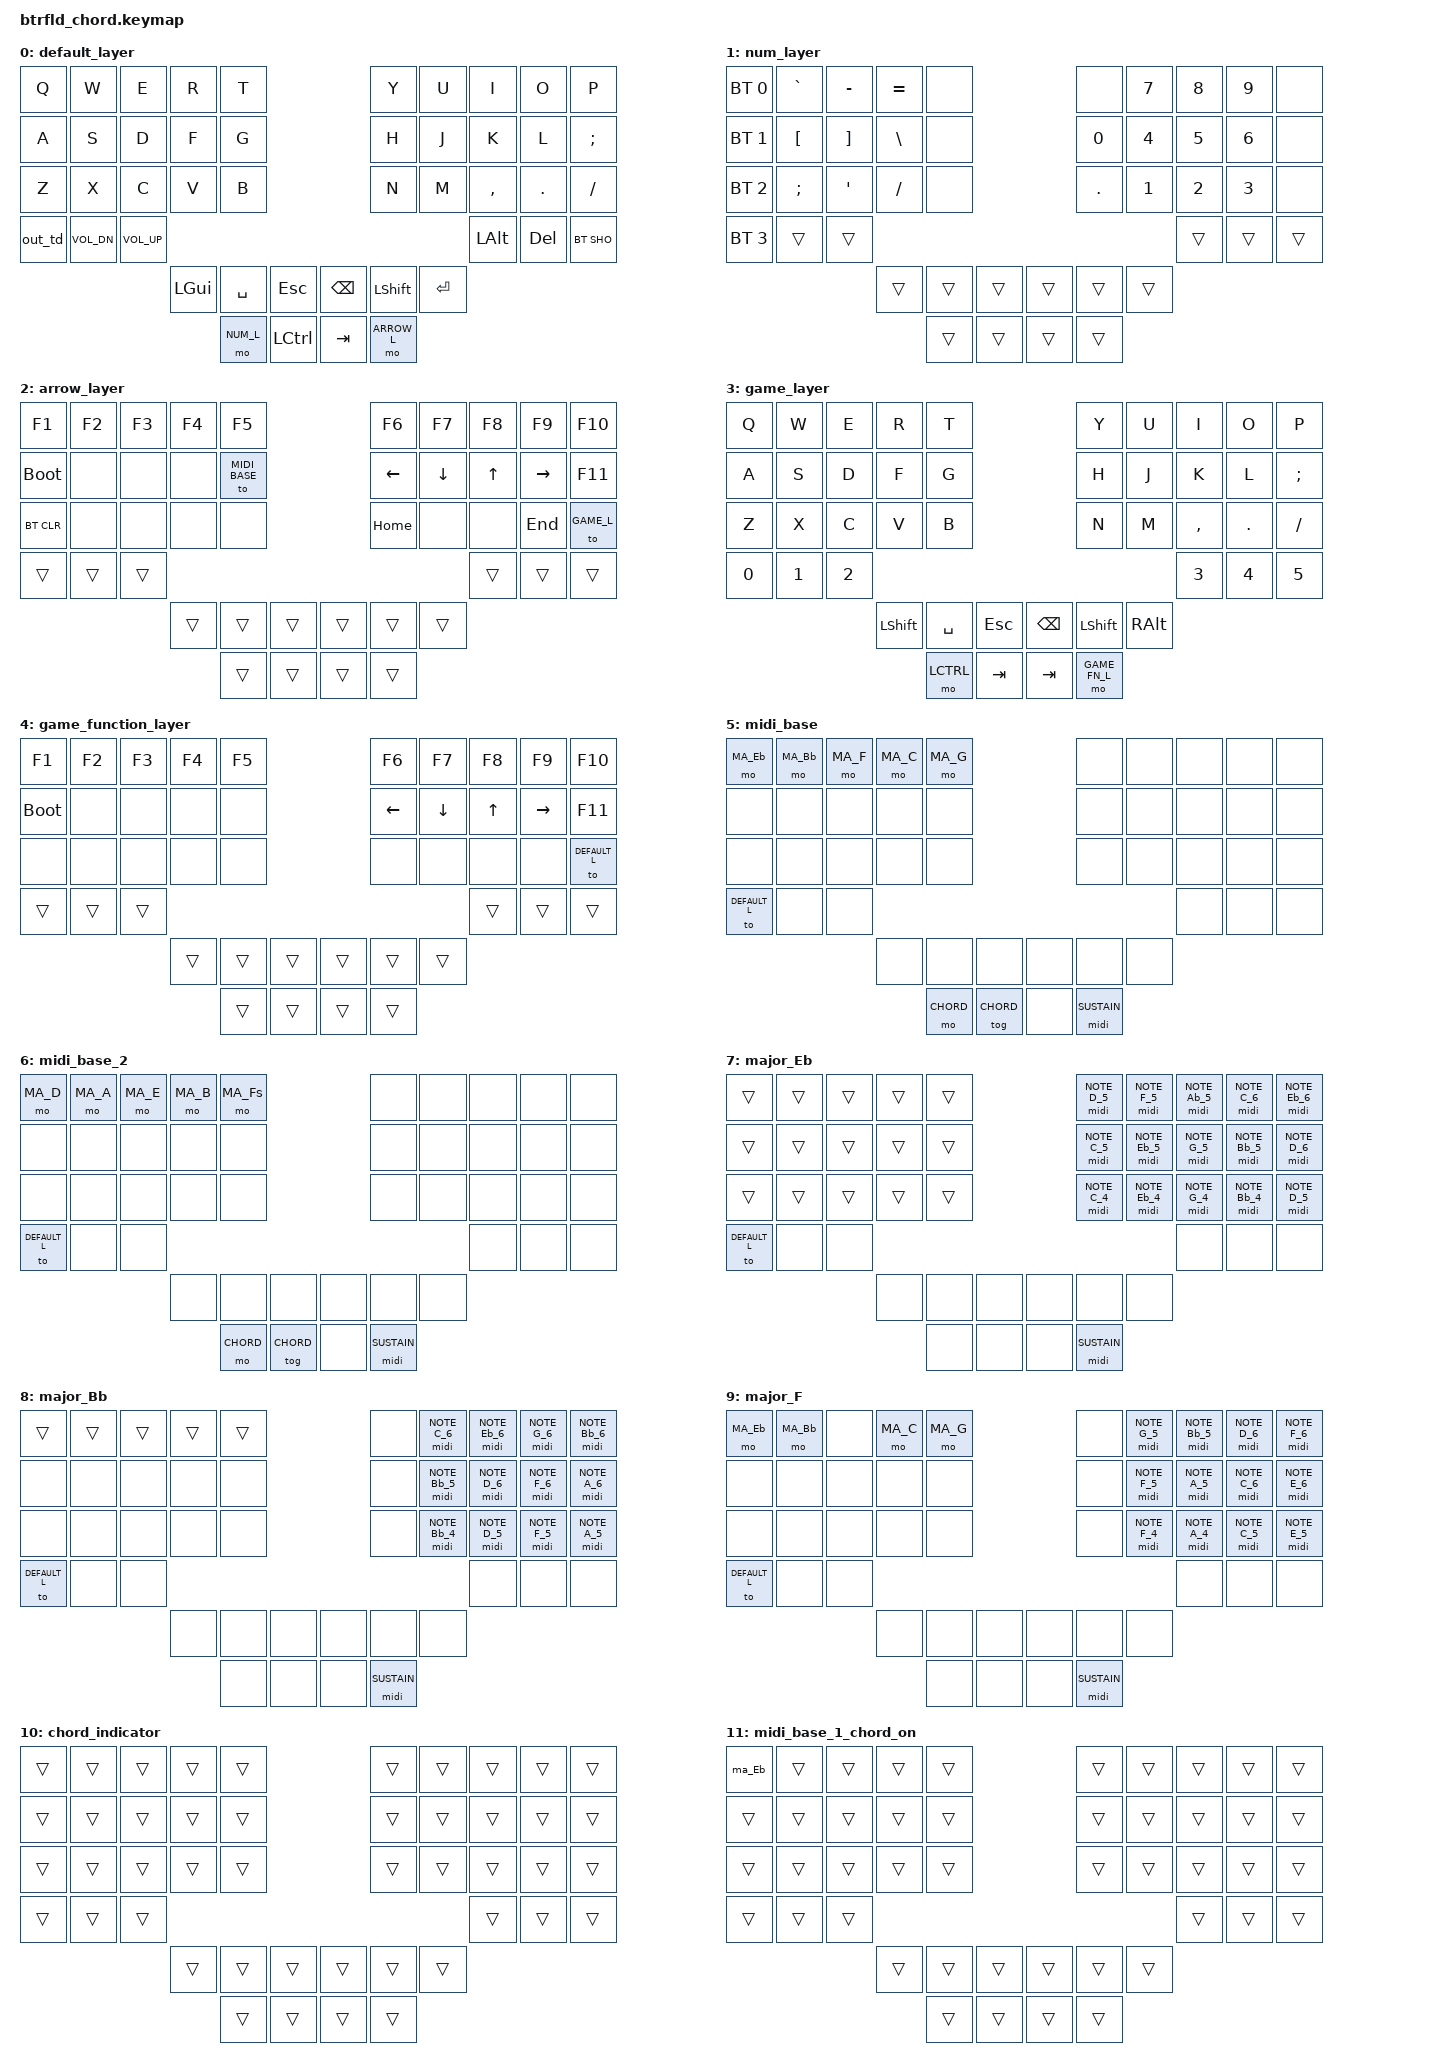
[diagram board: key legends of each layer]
#include <behaviors.dtsi>
#include <dt-bindings/zmk/keys.h>
#include <dt-bindings/zmk/midi.h>
#include <dt-bindings/zmk/bt.h>
#include <dt-bindings/zmk/outputs.h>



// go to bootloader: &bootloader
// presents key from higher layer: &trans
// no function: &none

#define DEFAULT_L  0
#define NUM_L      1
#define ARROW_L    2
#define GAME_L     3
#define GAME_FN_L  4

#define MIDI_BASE   5
#define MIDI_BASE_2 6

// Major chords
#define MA_Eb  7
#define MA_Bb  8
#define MA_F  9
#define MA_C  10
#define MA_G  11
#define MA_D  12
#define MA_A  13
#define MA_E  14
#define MA_B  15
#define MA_Fs  16

// Minor Chords
#define MI_Eb  17
#define MI_Bb  18
#define MI_F  19
#define MI_C  20
#define MI_G  21
#define MI_D  22
#define MI_A  23
#define MI_E  24
#define MI_B  25
#define MI_Fs  26

// 7ths 
#define SEV_Eb  27
#define SEV_Bb  28
#define SEV_F  29
#define SEV_C  30
#define SEV_G  31
#define SEV_D  32
#define SEV_A  33
#define SEV_E  34
#define SEV_B  35
#define SEV_Fs  36

// Major 7ths
#define MA7_Eb  37
#define MA7_Bb  38
#define MA7_F  39
#define MA7_C  40
#define MA7_G  41
#define MA7_D  42
#define MA7_A  43
#define MA7_E  44
#define MA7_B  45
#define MA7_Fs  46

// Minor 7ths
#define MI7_Eb  47
#define MI7_Bb  48
#define MI7_F  49
#define MI7_C  50
#define MI7_G  51
#define MI7_D  52
#define MI7_A  53
#define MI7_E  54
#define MI7_B  55
#define MI7_Fs  56

// Augmented
#define AUG_Eb  57
#define AUG_Bb  58
#define AUG_F  59
#define AUG_C  60
#define AUG_G  61
#define AUG_D  62
#define AUG_A  63
#define AUG_E  64
#define AUG_B  65
#define AUG_Fs  66

// Diminished
#define DIM_Eb  67
#define DIM_Bb  68
#define DIM_F  69
#define DIM_C  70
#define DIM_G  71
#define DIM_D  72
#define DIM_A  73
#define DIM_E  74
#define DIM_B  75
#define DIM_Fs  76


//TODO these function layers come after all others, and so should have their number increased as we fill out the other layers
// they need to be at the end because of how zmk handles layers. higher number layers are processed first
#define CHORD 10
#define MIDI_BASE_1_CHORD 11
#define MIDI_BASE_2_CHORD 12
//TODO use conditional layers for the chord key combos?


/ {
  conditional_layers {
        compatible = "zmk,conditional-layers";
        tri_layer_midi_base_1 {
            if-layers = <CHORD MIDI_BASE>;
            then-layer = <MIDI_BASE_1_CHORD>;
        };

        tri_layer_midi_base_2 {
            if-layers = <CHORD MIDI_BASE>;
            then-layer = <MIDI_BASE_2_CHORD>;
        };

    };

// switch the bt device depending on the number of taps on td0
    behaviors {
        out_td: tap_dance_0 {
            compatible = "zmk,behavior-tap-dance";
            label = "TAP_DANCE_0";
            #binding-cells = <0>;
            tapping-term-ms = <200>;
            bindings = <&out OUT_SHO>, <&out OUT_BLE>, <&out OUT_USB>;
        };


//TODO problem, wait-ms is not respected on release so often the release steps get eaten before making it to the host as they all send at the same time


// macros for each chord key, so we can switch to the chords layer and press the chords keys at the same time
        ma_Eb: major_Eb {
            compatible = "zmk,behavior-macro";
            wait-ms = <2>;
            tap-ms = <0>;
            #binding-cells = <0>;
            bindings
            = <&macro_press &mo MA_Eb>
            , <&macro_press &midi NOTE_Eb_4>
            , <&macro_press &midi NOTE_G_4>
            , <&macro_press &midi NOTE_Bb_4>
            , <&macro_pause_for_release>
            , <&macro_release &mo MA_Eb>
            , <&macro_release &midi NOTE_Eb_4>
            , <&macro_release &midi NOTE_G_4>
            , <&macro_release &midi NOTE_Bb_4>
            ;
        };

// we want to be able to toggle on/off chords playing when chord keys are pressed
// can we set a global variable to do this?
// 

/**
 * Temporarily switches to a layer (`&mo`) while a modifier is held.
 * Analogous to QMK's `LM()`, using a parameterized macro.
 *
 * Params:
 *  1. Layer to switch to
 *  2. Modifier to press while layer is active
 *
 * Example:
 *  `&lm NUM_LAYER LSHIFT`
 */
lm: lm {
    compatible = "zmk,behavior-macro-two-param";
    wait-ms = <0>;
    tap-ms = <0>;
    #binding-cells = <2>;
    bindings
        = <&macro_param_1to1>
        , <&macro_press &mo MACRO_PLACEHOLDER>
        , <&macro_param_2to1>
        , <&macro_press &kp MACRO_PLACEHOLDER>
        , <&macro_pause_for_release>
        , <&macro_param_2to1>
        , <&macro_release &kp MACRO_PLACEHOLDER>
        , <&macro_param_1to1>
        , <&macro_release &mo MACRO_PLACEHOLDER>
        ;
};
    };

    keymap {
        compatible = "zmk,keymap";

        default_layer {
// --------------------------------------------------------------------------------------------------------------------------------------------------------------------
// |    Q    |    W    |    E    |    R    |    T    |                                          |    Y    |    U    |    I    |    O    |    P    |
// |    A    |    S    |    D    |    F    |    G    |                                          |    H    |    J    |    K    |    L    |    ;    |
// |    Z    |    X    |    C    |    V    |    B    |                                          |    N    |    M    |    ,    |    .    |    /    |
// |BT/USB td|  VOL_DN | VOL_UP  |                                                                                  |   LALT  |   DEL   |   bt sho  |
//                               |   GUI   |   SPACE | ESC     |                      |backspace| L SHIFT |  ENTER  |
//                                         |NUM_LAYER| l_ctrl  |                      |   TAB   |ARROW_LAYER|

bindings = <
      &kp Q     &kp W     &kp E     &kp R      &kp T                                               &kp Y     &kp U     &kp I     &kp O     &kp P   
      &kp A     &kp S     &kp D     &kp F      &kp G                                               &kp H     &kp J     &kp K     &kp L     &kp SEMI
      &kp Z     &kp X     &kp C     &kp V      &kp B                                               &kp N     &kp M     &kp COMMA &kp DOT   &kp FSLH
    &out_td &kp C_VOL_DN &kp C_VOL_UP                                                                                   &kp LALT  &kp DEL   &bt BT_SHO
                                  &kp LGUI    &kp SPC   &kp ESC                         &kp BSPC  &kp LSHFT  &kp ENTER
                                              &mo NUM_L &kp LCTRL                       &kp TAB   &mo ARROW_L
            >;
        };

        num_layer {
bindings = <
  &bt BT_SEL 0   &kp GRAVE &kp MINUS &kp EQUAL   &none                                               &none     &kp N7    &kp N8    &kp N9     &none
  &bt BT_SEL 1   &kp LBKT  &kp RBKT   &kp BSLH   &none                                               &kp N0    &kp N4    &kp N5    &kp N6     &none
  &bt BT_SEL 2   &kp SEMI   &kp SQT   &kp FSLH   &none                                               &kp DOT   &kp N1    &kp N2    &kp N3    &none
  &bt BT_SEL 3    &trans    &trans                                                                                      &trans   &trans    &trans
                                   &trans    &trans   &trans                        &trans   &trans  &trans
                                             &trans   &trans                        &trans   &trans
            >;
        };

        arrow_layer {
bindings = <
      &kp F1   &kp F2  &kp F3   &kp F4   &kp F5                                               &kp F6     &kp F7      &kp F8    &kp F9     &kp F10
    &bootloader  &none  &none   &none   &to MIDI_BASE                                                 &kp LEFT    &kp DOWN    &kp UP    &kp RIGHT  &kp F11
   &bt BT_CLR    &none &none    &none   &none                                                &kp HOME    &none       &none     &kp END    &to GAME_L
      &trans    &trans  &trans                                                                                        &trans     &trans       &trans
                                   &trans    &trans   &trans                        &trans   &trans  &trans
                                             &trans   &trans                        &trans   &trans
            >;
        };

        game_layer {
bindings = <
      &kp Q     &kp W     &kp E     &kp R      &kp T                                               &kp Y     &kp U     &kp I     &kp O     &kp P   
      &kp A     &kp S     &kp D     &kp F      &kp G                                               &kp H     &kp J     &kp K     &kp L     &kp SEMI
      &kp Z     &kp X     &kp C     &kp V      &kp B                                               &kp N     &kp M     &kp COMMA &kp DOT   &kp FSLH
      &kp N0     &kp N1   &kp N2                                                                                       &kp N3  &kp N4      &kp N5
                                  &kp LSHFT    &kp SPC   &kp ESC                      &kp BSPC  &kp LSHFT  &kp RALT
                                              &mo LCTRL &kp TAB                       &kp TAB   &mo GAME_FN_L
            >;
        };

        game_function_layer {
bindings = <
      &kp F1   &kp F2  &kp F3   &kp F4   &kp F5                                               &kp F6     &kp F7      &kp F8    &kp F9     &kp F10
    &bootloader  &none  &none   &none   &none                                                &kp LEFT    &kp DOWN    &kp UP    &kp RIGHT  &kp F11
      &none     &none   &none   &none   &none                                                &none       &none       &none     &none  &to DEFAULT_L
      &trans    &trans  &trans                                                                                       &trans     &trans       &trans
                                   &trans    &trans   &trans                        &trans   &trans  &trans
                                             &trans   &trans                        &trans   &trans
            >;
        };


        midi_base {
bindings = <
   &mo MA_Eb   &mo MA_Bb  &mo MA_F &mo MA_C &mo MA_G                                           &none     &none   &none  &none     &none
   &none   &none  &none    &none &none                                           &none     &none   &none  &none     &none
   &none   &none  &none    &none &none                                           &none     &none   &none  &none     &none
   &to DEFAULT_L   &none  &none                                                                          &none  &none     &none
                                             &none  &none &none     &none  &none &none
                                                    &mo CHORD &tog CHORD     &none  &midi SUSTAIN
            >;
        };

        midi_base_2 {
bindings = <
   &mo MA_D   &mo MA_A  &mo MA_E &mo MA_B &mo MA_Fs                                           &none     &none   &none  &none     &none
   &none   &none  &none    &none &none                                           &none     &none   &none  &none     &none
   &none   &none  &none    &none &none                                           &none     &none   &none  &none     &none
   &to DEFAULT_L   &none  &none                                                                          &none  &none     &none
                                             &none  &none &none     &none  &none &none
                                                    &mo CHORD &tog CHORD     &none  &midi SUSTAIN
            >;
        };



// the two extra notes on the left of the main chord breakdown are:
// "Y" aka D_4 aka the 7th of the octave below
// "H" aka C_4 aka the 6th of the octave below

        major_Eb {
bindings = <
   &trans  &trans &trans   &trans &trans                                               &midi NOTE_D_5     &midi NOTE_F_5   &midi NOTE_Ab_5  &midi NOTE_C_6     &midi NOTE_Eb_6
   &trans   &trans  &trans  &trans &trans                                              &midi NOTE_C_5     &midi NOTE_Eb_5   &midi NOTE_G_5   &midi NOTE_Bb_5     &midi NOTE_D_6
   &trans  &trans  &trans   &trans &trans                                              &midi NOTE_C_4     &midi NOTE_Eb_4   &midi NOTE_G_4  &midi NOTE_Bb_4     &midi NOTE_D_5
   &to DEFAULT_L   &none  &none                                                                          &none  &none     &none
                                             &none  &none &none     &none  &none &none
                                                    &none &none     &none  &midi SUSTAIN
            >;
        };

        major_Bb {
bindings = <
   &trans   &trans  &trans &trans &trans                                               &none     &midi NOTE_C_6   &midi NOTE_Eb_6  &midi NOTE_G_6     &midi NOTE_Bb_6
   &none   &none  &none    &none &none                                              &none     &midi NOTE_Bb_5   &midi NOTE_D_6   &midi NOTE_F_6     &midi NOTE_A_6
   &none   &none  &none    &none &none                                              &none     &midi NOTE_Bb_4   &midi NOTE_D_5   &midi NOTE_F_5     &midi NOTE_A_5
   &to DEFAULT_L   &none  &none                                                                          &none  &none     &none
                                             &none  &none &none     &none  &none &none
                                                    &none &none     &none  &midi SUSTAIN
            >;
        };

        major_F {
bindings = <
   &mo MA_Eb   &mo MA_Bb  &none &mo MA_C &mo MA_G                                               &none     &midi NOTE_G_5   &midi NOTE_Bb_5  &midi NOTE_D_6     &midi NOTE_F_6
   &none   &none  &none    &none &none                                              &none     &midi NOTE_F_5   &midi NOTE_A_5   &midi NOTE_C_6     &midi NOTE_E_6
   &none   &none  &none    &none &none                                              &none     &midi NOTE_F_4   &midi NOTE_A_4   &midi NOTE_C_5     &midi NOTE_E_5
   &to DEFAULT_L   &none  &none                                                                          &none  &none     &none
                                             &none  &none &none     &none  &none &none
                                                    &none &none     &none  &midi SUSTAIN
            >;
        };

// not explicitly used, but its activation is a variable to determine whether chords should make sound when pressed
        chord_indicator {
bindings = <
   &trans   &trans  &trans    &trans &trans                                           &trans     &trans   &trans  &trans     &trans
   &trans   &trans  &trans    &trans &trans                                           &trans     &trans   &trans  &trans     &trans
   &trans   &trans  &trans    &trans &trans                                           &trans     &trans   &trans  &trans     &trans
   &trans   &trans  &trans                                                                          &trans  &trans     &trans
                                             &trans  &trans &trans     &trans  &trans &trans
                                                    &trans &trans     &trans  &trans
            >;
        };

        midi_base_1_chord_on {
bindings = <
   &ma_Eb   &trans  &trans    &trans &trans                                           &trans     &trans   &trans  &trans     &trans
   &trans   &trans  &trans    &trans &trans                                           &trans     &trans   &trans  &trans     &trans
   &trans   &trans  &trans    &trans &trans                                           &trans     &trans   &trans  &trans     &trans
   &trans   &trans  &trans                                                                          &trans  &trans     &trans
                                             &trans  &trans &trans     &trans  &trans &trans
                                                    &trans &trans     &trans  &trans
            >;
        };

    };
};


// each major scale has a root note and then goes
// 2 2 1 2 2 2 1
// each minor scale
// 2 1 2 2 1 2 2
